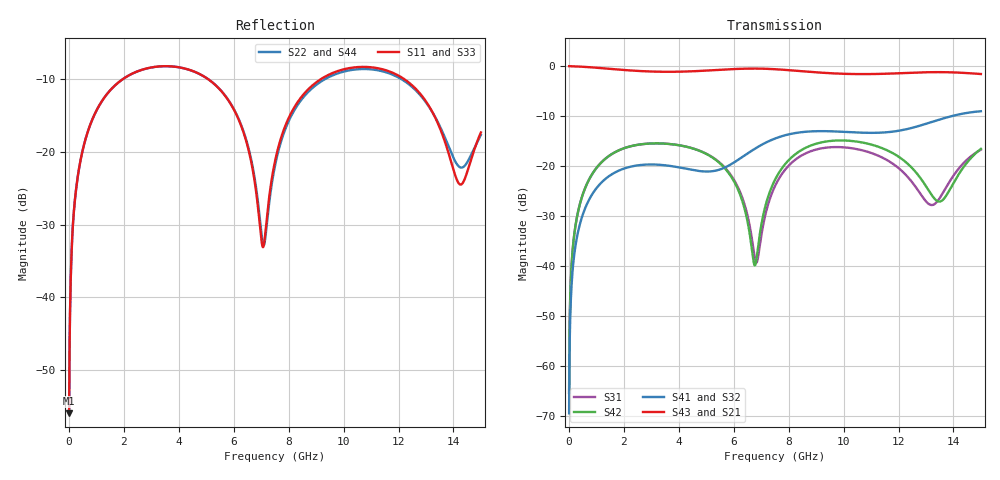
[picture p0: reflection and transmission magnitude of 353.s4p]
! Created with skrf 1.8.0 (http://scikit-rf.org).
# GHz S RI R 50.0
!freq ReS11 ImS11 ReS12 ImS12 ReS13 ImS13
! ReS14 ImS14
! ReS21 ImS21 ReS22 ImS22 ReS23 ImS23
! ReS24 ImS24
! ReS31 ImS31 ReS32 ImS32 ReS33 ImS33
! ReS34 ImS34
! ReS41 ImS41 ReS42 ImS42 ReS43 ImS43
! ReS44 ImS44
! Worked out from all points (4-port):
!   2499 points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, 5 MHz to 15 GHz, reference 50 ohm
!   strongest paths, dB at 5 MHz, 3.476 GHz, 7.19 GHz, 11.1 GHz, 15 GHz:
!     S43: 0.0, -1.1, -0.5, -1.6, -1.6
!     S21: 0.0, -1.1, -0.5, -1.6, -1.6
!     S41: -69.6, -19.8, -15.3, -13.4, -9.0
!     S32: -69.6, -19.8, -15.3, -13.3, -9.0
!     S42: -65.5, -15.5, -27.3, -15.9, -16.6
!     S31: -65.5, -15.5, -28.9, -17.6, -16.7
!   lowest |S11| = -56.0 dB at 5 MHz (marker M1), VSWR 1.00, Z = 50.1 + j0.0963 ohm
!   |S11| at or under -10 dB: start of sweep to 1.952 GHz; 5.074 GHz to 9.164 GHz (4.091 GHz wide, 57.5 % of centre); 12.22 GHz to end of sweep
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0.005  0.00127 0.00096  0.9987 -0.00247  6.36e-05 0.00053  -6.17e-05 -0.000327
       0.9987 -0.00247  0.00127 0.00096  -6.17e-05 -0.000327  6.36e-05 0.00053
       6.36e-05 0.00053  -6.17e-05 -0.000327  0.00127 0.000961  0.9987 -0.00247
       -6.17e-05 -0.000327  6.36e-05 0.00053  0.9987 -0.00247  0.00127 0.000961
0.4126719  0.0238 0.0827  0.9671 -0.202  0.0118 0.0414  -0.00973 -0.0253
           0.9671 -0.202  0.0238 0.0827  -0.00974 -0.0252  0.0118 0.0414
           0.0118 0.0414  -0.00974 -0.0252  0.0238 0.0827  0.9671 -0.202
           -0.00973 -0.0253  0.0118 0.0414  0.9671 -0.202  0.0238 0.0827
2.075865  0.2783 0.173  0.5279 -0.7425  0.1391 0.063  -0.0955 -0.0021
          0.5279 -0.7425  0.2779 0.1734  -0.0958 -0.00183  0.1394 0.0627
          0.1391 0.063  -0.0958 -0.00183  0.278 0.1731  0.528 -0.7425
          -0.0955 -0.0021  0.1394 0.0627  0.528 -0.7425  0.278 0.1732
5.633597  0.1719 -0.1827  -0.676 -0.6283  0.048 -0.0867  -0.0424 0.0854
          -0.676 -0.6283  0.1734 -0.1823  -0.0403 0.0875  0.0562 -0.0797
          0.048 -0.0867  -0.0403 0.0875  0.1722 -0.1805  -0.6763 -0.6284
          -0.0424 0.0854  0.0562 -0.0797  -0.6763 -0.6284  0.1716 -0.1829
7.096707  0.0223 0.00539  -0.9396 -0.0606  -0.00522 0.0272  -0.00825 0.1672
          -0.9396 -0.0606  0.0227 0.00105  -0.0033 0.1674  0.0193 0.0284
          -0.00522 0.0272  -0.0033 0.1674  0.0248 0.00686  -0.9396 -0.0605
          -0.00825 0.1672  0.0193 0.0284  -0.9396 -0.0605  0.0201 0.0025
11.14214  0.375 -0.06  0.0555 0.8313  0.1072 -0.0749  0.2053 -0.0628
          0.0555 0.8313  0.365 -0.043  0.2041 -0.0724  0.1093 -0.1166
          0.1072 -0.0749  0.2041 -0.0724  0.3727 -0.061  0.0542 0.8318
          0.2053 -0.0628  0.1093 -0.1166  0.0542 0.8318  0.3654 -0.041
15  0.1022 0.0901  0.8167 -0.1689  0.064 0.1308  -0.089 -0.3418
    0.8167 -0.1689  0.1103 0.071  -0.107 -0.3374  0.0965 0.1125
    0.064 0.1308  -0.107 -0.3374  0.1025 0.0919  0.8166 -0.1673
    -0.089 -0.3418  0.0965 0.1125  0.8166 -0.1673  0.1125 0.079
